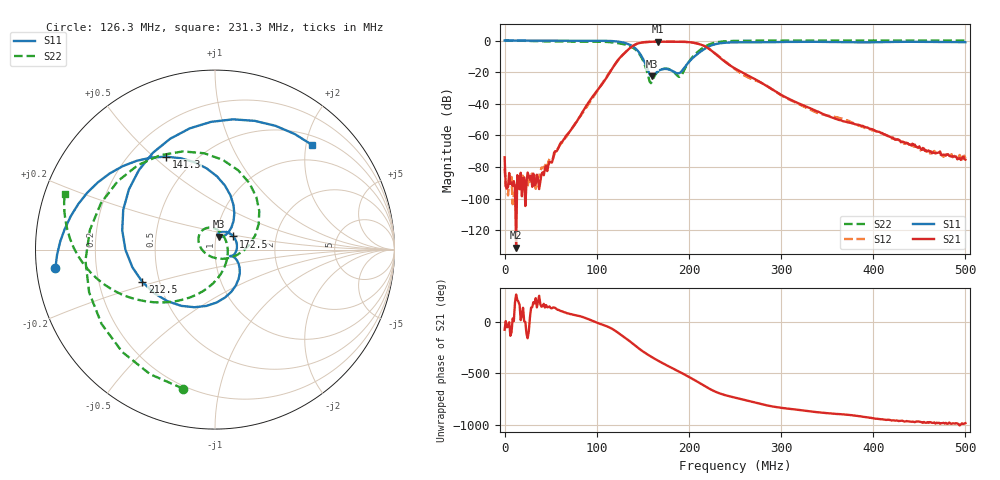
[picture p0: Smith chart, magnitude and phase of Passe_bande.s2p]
! ZVRE, 3.52
! symbol freq-unit parameter-type data-format keyword impedance-ohm
#  HZ  S  RI  R  50
! freq  reS11  imS11  reS21  imS21  reS12  imS12  reS22  imS22
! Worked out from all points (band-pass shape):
!   401 points, 9 kHz to 500 MHz, reference 50 ohm
!   highest |S21| = -0.69 dB at 166.3 MHz (marker M1); lowest = -130.9 dB at 12.51 MHz (marker M2)
!   |S21| within 3 dB of the highest: 138.4 MHz to 217.4 MHz (78.99 MHz wide, 44.4 % of centre)
!   lowest |S11| = -22.6 dB at 160 MHz (marker M3), VSWR 1.16, Z = 51.6 + j7.43 ohm
!   |S11| at or under -10 dB: 148.7 MHz to 206.2 MHz (57.47 MHz wide, 32.4 % of centre)
!   |S22| runs from -26.9 to 0.0 dB; largest |S21 - S12| = 0.023
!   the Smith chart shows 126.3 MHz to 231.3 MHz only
!   S11 on the Smith chart (normalised r, x): 126.3 MHz: 0.06, -0.06; 141.3 MHz: 0.35, +0.55; 172.5 MHz: 1.21, +0.18; 212.5 MHz: 0.40, -0.18; 231.3 MHz: 0.67, +2.11
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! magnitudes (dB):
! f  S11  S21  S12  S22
! 9 kHz  0.0  -73.8  -80.8  0.0
! 3.759 MHz  0.0  -92.5  -97.8  0.0
! 12.51 MHz  0.0  -130.9  -91.2  -0.1
! 41.26 MHz  0.0  -83.3  -80.3  -0.5
! 48.76 MHz  0.0  -76.6  -75.0  -0.5
! 83.76 MHz  -0.1  -45.9  -46.5  -0.7
! 126.3 MHz  -1.0  -10.2  -10.4  -2.0
! 141.3 MHz  -4.7  -2.6  -2.8  -5.3
! 148.8 MHz  -10.0  -1.3  -1.2  -11.0
! 156.3 MHz  -19.8  -0.9  -0.8  -23.5
! 160 MHz  -22.6  -0.8  -0.7  -25.9
! 166.3 MHz  -19.4  -0.7  -0.8  -19.7
! 167.5 MHz  -19.0  -0.7  -0.8  -19.1
! 172.5 MHz  -18.0  -0.7  -0.8  -17.9
! 190 MHz  -20.5  -0.8  -0.7  -23.0
! 212.5 MHz  -7.1  -2.5  -2.4  -5.8
! 231.3 MHz  -2.0  -9.7  -9.4  -1.0
! 250 MHz  -1.1  -17.7  -18.0  -0.2
! 333.8 MHz  -0.8  -43.3  -44.4  0.0
! 417.5 MHz  -0.9  -60.7  -60.5  0.0
! 461.3 MHz  -0.8  -70.3  -71.3  0.0
! 500 MHz  -1.1  -75.3  -74.4  0.0
